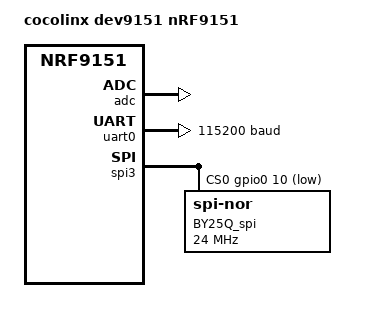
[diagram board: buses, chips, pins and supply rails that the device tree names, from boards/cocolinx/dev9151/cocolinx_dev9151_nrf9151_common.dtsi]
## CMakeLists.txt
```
cmake_minimum_required(VERSION 3.20.0)
find_package(Zephyr REQUIRED HINTS $ENV{ZEPHYR_BASE})

project(_flash)

target_sources(app PRIVATE src/main.c)
```

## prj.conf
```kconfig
CONFIG_FPU=y

# Stacks and heaps
CONFIG_MAIN_STACK_SIZE=4096
CONFIG_HEAP_MEM_POOL_SIZE=4096

# Log
CONFIG_LOG=y
CONFIG_LOG_DEFAULT_LEVEL=3
CONFIG_LOG_BUFFER_SIZE=2048
CONFIG_LOG_BACKEND_RTT=n
CONFIG_LOG_BACKEND_UART=y
CONFIG_LOG_BACKEND_UART_BUFFER_SIZE=2048

# Modem library
CONFIG_NRF_MODEM_LIB=y
CONFIG_NRF_MODEM_LIB_TRACE=n
CONFIG_ZVFS_OPEN_MAX=8

# FLASH # NVS
CONFIG_FLASH=y
CONFIG_FLASH_MAP=y
CONFIG_FLASH_PAGE_LAYOUT=y
CONFIG_MPU_ALLOW_FLASH_WRITE=y
CONFIG_NVS=y
```

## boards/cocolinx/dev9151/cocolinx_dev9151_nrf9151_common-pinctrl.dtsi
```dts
/*
 * Copyright (c) 2023 cocolinx
 * SPDX-License-Identifier: Apache-2.0
 */

&pinctrl {
	uart0_default: uart0_default {
		group1 {
			psels = <NRF_PSEL(UART_TX, 0, 21)>,
					<NRF_PSEL(UART_RX, 0, 22)>;
		};
	};
	uart0_sleep: uart0_sleep {
		group1 {
			psels = <NRF_PSEL(UART_TX, 0, 21)>,
					<NRF_PSEL(UART_RX, 0, 22)>;
			low-power-enable;
		};
	};
	// uart2_default: uart2_default {
	// 	group1 {
	// 		psels = <NRF_PSEL(UART_TX, 0, 8)>,
	// 				<NRF_PSEL(UART_RX, 0, 9)>;
	// 	};
	// };
	// uart2_sleep: uart2_sleep {
	// 	group1 {
	// 		psels = <NRF_PSEL(UART_TX, 0, 8)>,
	// 				<NRF_PSEL(UART_RX, 0, 9)>;
	// 		low-power-enable;
	// 	};
	// };

	// pwm0_default: pwm0_default {
	// 	group1 {
	// 		psels = <NRF_PSEL(PWM_OUT0, 0, 20)>;
	// 	};
	// };

	// pwm0_sleep: pwm0_sleep {
	// 	group1 {
	// 		psels = <NRF_PSEL(PWM_OUT0, 0, 20)>;
	// 		low-power-enable;
	// 	};
	// };

	spi3_default: spi3_default {
		group1 {
			psels = <NRF_PSEL(SPIM_SCK, 0, 12)>,
				<NRF_PSEL(SPIM_MOSI, 0, 14)>,
				<NRF_PSEL(SPIM_MISO, 0, 11)>;
		};
	};

	spi3_sleep: spi3_sleep {
		group1 {
			psels = <NRF_PSEL(SPIM_SCK, 0, 12)>,
				<NRF_PSEL(SPIM_MOSI, 0, 14)>,
				<NRF_PSEL(SPIM_MISO, 0, 11)>;
			low-power-enable;
		};
	};

	// i2c1_default: i2c1_default {
	// 	group1 {
	// 		psels = <NRF_PSEL(TWIM_SDA, 0, 7)>,
	// 			<NRF_PSEL(TWIM_SCL, 0, 6)>;
	// 	};
	// };

	// i2c1_sleep: i2c1_sleep {
	// 	group1 {
	// 		psels = <NRF_PSEL(TWIM_SDA, 0, 7)>,
	// 			<NRF_PSEL(TWIM_SCL, 0, 6)>;
	// 		low-power-enable;
	// 	};
	// };
};
```

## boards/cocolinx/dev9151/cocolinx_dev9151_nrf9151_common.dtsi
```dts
/*
 * Copyright (c) 2023 cocolinx
 *
 * SPDX-License-Identifier: Apache-2.0
 */
#include "cocolinx_dev9151_nrf9151_common-pinctrl.dtsi"
#include <zephyr/dt-bindings/input/input-event-codes.h>

/ {
	model = "cocolinx dev9151 nRF9151";
	compatible = "cocolinx,dev9151-nrf9151";

	chosen {
		zephyr,console = &uart0;
		zephyr,shell-uart = &uart0;
		zephyr,uart-mcumgr = &uart0;
	};

	aliases {
		watchdog0 = &wdt0;
		by25q0 = &BY25Q_spi;
	};
};

&adc {
	status = "okay";
};

&gpiote {
	status = "okay";
};

&gpio0 {
	status = "okay";
};

&uart0 {
	status = "okay";
	current-speed = <115200>;
	pinctrl-0 = <&uart0_default>;
	pinctrl-1 = <&uart0_sleep>;
	pinctrl-names = "default", "sleep";
};

// &uart2 {
// 	status = "okay";
// 	current-speed = <115200>;
// 	pinctrl-0 = <&uart2_default>;
// 	pinctrl-1 = <&uart2_sleep>;
// 	pinctrl-names = "default", "sleep";
// };

&spi3 {
	compatible = "nordic,nrf-spim";
	status = "okay";
	cs-gpios = < &gpio0 10 GPIO_ACTIVE_LOW >;
	pinctrl-0 = <&spi3_default>;
	pinctrl-1 = <&spi3_sleep>;
	pinctrl-names = "default", "sleep";	
	
	BY25Q_spi: spi-nor-flash@0 {
		compatible = "jedec,spi-nor";
		reg = <0>;
		spi-max-frequency = <24000000>;
		size = <DT_SIZE_M(32)>; /* 32 Mbits */
		status = "okay";
		jedec-id = [68 40 16];
		has-dpd;
		t-enter-dpd = <3500>;
		t-exit-dpd = <3500>;
	};
};

// &i2c1 {
// 	compatible = "nordic,nrf-twim";
// 	status = "okay";
// 	pinctrl-0 = <&i2c1_default>;
// 	pinctrl-1 = <&i2c1_sleep>;
// 	pinctrl-names = "default", "sleep";
// };

// &pwm0 {
// 	status = "okay";
// 	pinctrl-0 = <&pwm0_default>;
// 	pinctrl-1 = <&pwm0_sleep>;
// 	pinctrl-names = "default", "sleep";
// };

/* Include default memory partition configuration file */
#include <nordic/nrf91xx_partition.dtsi>
```

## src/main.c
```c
#include <zephyr/kernel.h>
#include <zephyr/logging/log.h>
#include <nrf_modem.h> 
#include <nrf_modem_at.h> 
#include <modem/nrf_modem_lib.h>
#include <zephyr/drivers/flash.h>

#define SPI_FLASH_TEST_REGION_OFFSET 0xff000
#define SPI_FLASH_SECTOR_SIZE        4096 /* 4kB */

LOG_MODULE_REGISTER(main_flash, CONFIG_LOG_DEFAULT_LEVEL);

static const struct device *flash_dev = DEVICE_DT_GET(DT_ALIAS(by25q0));


const uint8_t erased[] = { 0xff, 0xff, 0xff, 0xff };

void single_sector_test(const struct device *flash_dev)
{
	const uint8_t expected[] = { 0x55, 0xaa, 0x66, 0x99 };

	const size_t len = sizeof(expected);
	uint8_t buf[sizeof(expected)];
	int rc;

	LOG_INF("Perform test on single sector");
	/* Write protection needs to be disabled before each write or
	 * erase, since the flash component turns on write protection
	 * automatically after completion of write and erase
	 * operations.
	 */
	LOG_INF("Test 1: Flash erase");

	/* Full flash erase if SPI_FLASH_TEST_REGION_OFFSET = 0 and
	 * SPI_FLASH_SECTOR_SIZE = flash size
	 */
	rc = flash_erase(flash_dev, SPI_FLASH_TEST_REGION_OFFSET,
			 SPI_FLASH_SECTOR_SIZE);
	if (rc != 0) {
		LOG_INF("Flash erase failed! %d", rc);
	} else {
		/* Check erased pattern */
		memset(buf, 0, len);
		rc = flash_read(flash_dev, SPI_FLASH_TEST_REGION_OFFSET, buf, len);
		if (rc != 0) {
			LOG_INF("Flash read failed! %d", rc);
			return;
		}
		if (memcmp(erased, buf, len) != 0) {
			LOG_INF("Flash erase failed at offset 0x%x got 0x%x",
				SPI_FLASH_TEST_REGION_OFFSET, *(uint32_t *)buf);
			return;
		}
		LOG_INF("Flash erase succeeded!");
	}
	LOG_INF("Test 2: Flash write");

	LOG_INF("Attempting to write %zu bytes", len);
	rc = flash_write(flash_dev, SPI_FLASH_TEST_REGION_OFFSET, expected, len);
	if (rc != 0) {
		LOG_INF("Flash write failed! %d", rc);
		return;
	}

	memset(buf, 0, len);
	rc = flash_read(flash_dev, SPI_FLASH_TEST_REGION_OFFSET, buf, len);
	if (rc != 0) {
		LOG_INF("Flash read failed! %d", rc);
		return;
	}

	if (memcmp(expected, buf, len) == 0) {
		LOG_INF("Data read matches data written. Good!!");
	} else {
		const uint8_t *wp = expected;
		const uint8_t *rp = buf;
		const uint8_t *rpe = rp + len;

		LOG_INF("Data read does not match data written!!");
		while (rp < rpe) {
			LOG_INF("%08x wrote %02x read %02x %s",
			       (uint32_t)(SPI_FLASH_TEST_REGION_OFFSET + (rp - buf)),
			       *wp, *rp, (*rp == *wp) ? "match" : "MISMATCH");
			++rp;
			++wp;
		}
	}
}

int main(void)
{
    nrf_modem_lib_init();
    LOG_INF("=====FLASH EXAMPLE=====");
    
    if (!device_is_ready(flash_dev)) {
		LOG_INF("%s: device not ready.", flash_dev->name);
		return 0;
	}

	single_sector_test(flash_dev);

    return 0;
}
```
